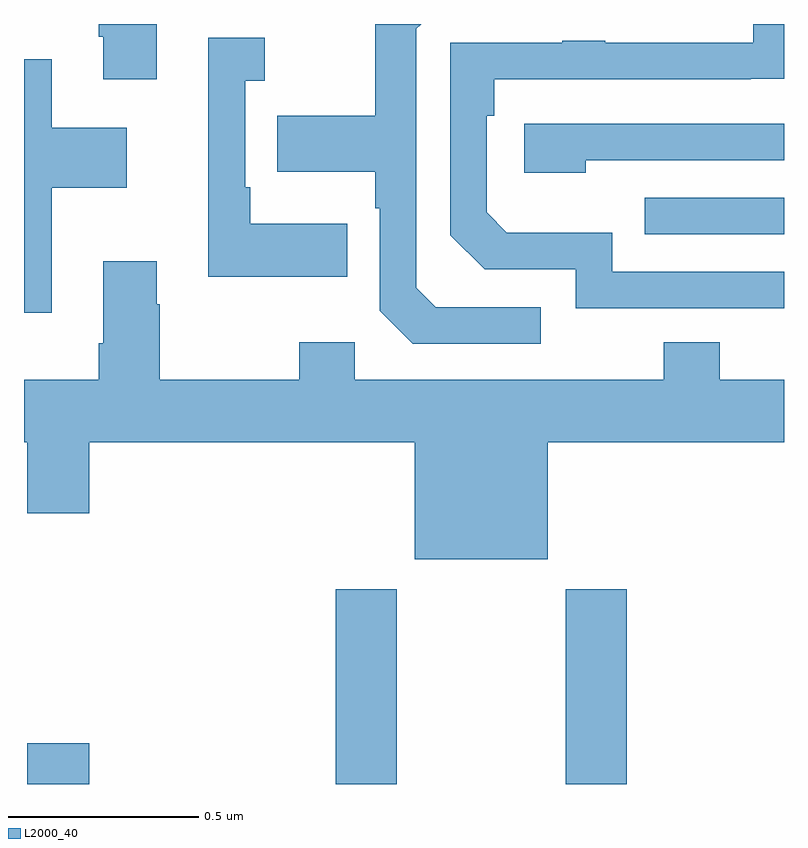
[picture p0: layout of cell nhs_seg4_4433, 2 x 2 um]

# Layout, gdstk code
import gdstk
lib = gdstk.Library(unit=1e-6, precision=1e-09)
def R(c, l, rs):  # rectangles x0, y0, x1, y1
    for r in rs: c.add(gdstk.rectangle(r[:2], r[2:], *l))
def P(c, l, *ps):  # polygons
    for p in ps: c.add(gdstk.Polygon(p, *l))
L2000_40 = (2000, 40)

nhs_seg4_4433 = lib.new_cell('nhs_seg4_4433')
R(nhs_seg4_4433, L2000_40, [(165.008,815.9,165.172,816.007), (165.821,815.9,165.981,816.412), (166.426,815.9,166.586,816.412), (166.633,817.347,167,817.443)])
P(nhs_seg4_4433, L2000_40, [(165.349,817.9),(165.197,817.9),(165.197,817.867),(165.209,817.867),(165.209,817.755),(165.349,817.755)],
  [(166.36,817.155),(166.083,817.155),(166.032,817.206),(166.032,817.887),(166.045,817.9),(165.924,817.9),(165.924,817.659),(165.667,817.659),(165.667,817.511),(165.924,817.511),(165.924,817.415),(165.936,817.415),(165.936,817.146),(166.023,817.059),(166.36,817.059)],
  [(167,817.248),(166.548,817.248),(166.548,817.351),(166.271,817.351),(166.218,817.404),(166.218,817.658),(166.238,817.658),(166.238,817.755),(166.913,817.755),(166.913,817.756),(167,817.756),(167,817.9),(166.919,817.9),(166.919,817.851),(166.529,817.851),(166.529,817.856),(166.417,817.856),(166.417,817.851),(166.122,817.851),(166.122,817.344),(166.212,817.254),(166.452,817.254),(166.452,817.152),(167,817.152)],
  [(165.851,817.375),(165.595,817.375),(165.595,817.471),(165.582,817.471),(165.582,817.751),(165.634,817.751),(165.634,817.864),(165.485,817.864),(165.485,817.235),(165.851,817.235)],
  [(165.073,817.469),(165.271,817.469),(165.271,817.627),(165.073,817.627),(165.073,817.807),(165,817.807),(165,817.14),(165.073,817.14)],
  [(166.478,817.542),(167,817.542),(167,817.638),(166.317,817.638),(166.317,817.508),(166.478,817.508)],
  [(166.378,816.8),(167,816.8),(167,816.964),(166.831,816.964),(166.831,817.063),(166.684,817.063),(166.684,816.964),(165.87,816.964),(165.87,817.063),(165.724,817.063),(165.724,816.964),(165.357,816.964),(165.357,817.163),(165.349,817.163),(165.349,817.276),(165.209,817.276),(165.209,817.06),(165.197,817.06),(165.197,816.964),(165,816.964),(165,816.8),(165.008,816.8),(165.008,816.612),(165.172,816.612),(165.172,816.8),(166.028,816.8),(166.028,816.491),(166.378,816.491)])

lib.write_gds('nhs_seg4_4433.gds')
